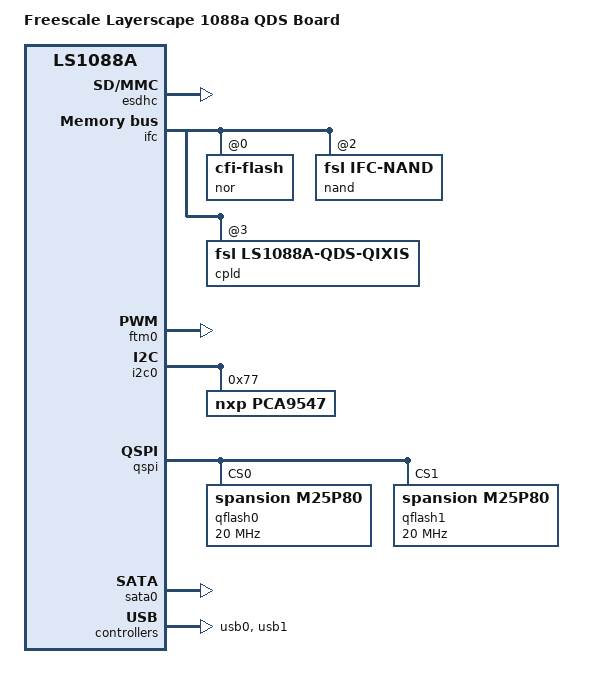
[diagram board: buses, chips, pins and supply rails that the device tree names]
/*
 * Device Tree file for Freescale LS1088a QDS Board
 *
 * Copyright (C) 2016, Freescale Semiconductor
 *
 * This file is licensed under the terms of the GNU General Public
 * License version 2.  This program is licensed "as is" without any
 * warranty of any kind, whether express or implied.
 */

/dts-v1/;

#include "fsl-ls1088a.dtsi"

/ {
	model = "Freescale Layerscape 1088a QDS Board";
	compatible = "fsl,ls1088a-qds", "fsl,ls1088a";
};

&esdhc {
	status = "okay";
};

&ifc {
	status = "okay";
	#address-cells = <2>;
	#size-cells = <1>;
	ranges = <0x0 0x0 0x5 0x80000000 0x08000000
		  0x2 0x0 0x5 0x30000000 0x00010000
		  0x3 0x0 0x5 0x20000000 0x00010000>;

	nor@0,0 {
	     #address-cells = <1>;
	     #size-cells = <1>;
	     compatible = "cfi-flash";
	     reg = <0x0 0x0 0x8000000>;
	     bank-width = <2>;
	     device-width = <1>;
	};

	nand@2,0 {
	     #address-cells = <1>;
	     #size-cells = <1>;
	     compatible = "fsl,ifc-nand";
	     reg = <0x2 0x0 0x10000>;
	};

	cpld@3,0 {
	     reg = <0x3 0x0 0x10000>;
	     compatible = "fsl,ls1088a-qds-qixis", "fsl,fpga-qixis";
	};
};

&ftm0 {
	status = "okay";
};

&i2c0 {
	status = "okay";
	pca9547@77 {
		compatible = "nxp,pca9547";
		reg = <0x77>;
		#address-cells = <1>;
		#size-cells = <0>;
	};
};

&i2c1 {
	status = "disabled";
};

&i2c2 {
	status = "disabled";
};

&i2c3 {
	status = "disabled";
};

&dspi {
	status = "disabled";

/*    Enable for actual platform
        bus-num = <0>;
	status = "okay";

	flash@0 {
		#address-cells = <1>;
		#size-cells = <1>;
		compatible = "n25q128a11", "jedec,spi-nor";
		reg = <0>;
		spi-max-frequency = <10000000>;
	};

	flash@1 {
		#address-cells = <1>;
		#size-cells = <1>;
		compatible = "sst,sst25wf040b", "jedec,spi-nor";
		reg = <1>;
		spi-max-frequency = <35000000>;
	};

	flash@2 {
		#address-cells = <1>;
		#size-cells = <1>;
		compatible = "eon,en25s64", "jedec,spi-nor";
		reg = <2>;
		spi-max-frequency = <35000000>;
	};
*/
};

&qspi {
	status = "okay";
	qflash0: s25fs512s@0 {
		compatible = "spansion,m25p80";
		#address-cells = <1>;
		#size-cells = <1>;
		spi-max-frequency = <20000000>;
		reg = <0>;
	};

	qflash1: s25fs512s@1 {
		compatible = "spansion,m25p80";
		#address-cells = <1>;
		#size-cells = <1>;
		spi-max-frequency = <20000000>;
		reg = <1>;
	};
};

&sata0 {
	status = "okay";
};

&usb0 {
	status = "okay";
};

&usb1 {
	status = "okay";
};
